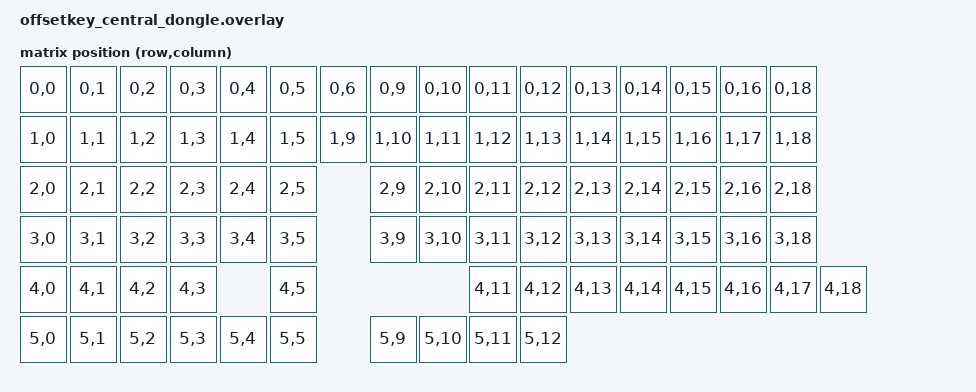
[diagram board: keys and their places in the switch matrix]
/*
 * Copyright (c) 2020 ZMK Contributors
 *
 * SPDX-License-Identifier: MIT
 */
#include <dt-bindings/zmk/matrix_transform.h>
#include <dt-bindings/zmk/input_transform.h>
#include <input/processors.dtsi>
#include "offsetkey_physical_layout.dtsi"
#include "split_input_common.dtsi"

#define SYMBOLS 2

/ {
    chosen {
        zmk,kscan = &mock_kscan;
        zmk,matrix-transform = &default_transform;
        zmk,physical-layout = &offsetkey_physical_layout;
        zephyr,display = &oled;
    };

    default_transform: keymap_transform_0 {
        compatible = "zmk,matrix-transform";
        columns = <19>;
        rows = <6>;

        map = <
            RC(0,0) RC(0,1) RC(0,2) RC(0,3) RC(0,4) RC(0,5) RC(0,6)            RC(0,9) RC(0,10) RC(0,11) RC(0,12) RC(0,13) RC(0,14) RC(0,15) RC(0,16) RC(0,18)
            RC(1,0) RC(1,1) RC(1,2) RC(1,3) RC(1,4) RC(1,5)                    RC(1,9) RC(1,10) RC(1,11) RC(1,12) RC(1,13) RC(1,14) RC(1,15) RC(1,16) RC(1,17) RC(1,18)
            RC(2,0) RC(2,1) RC(2,2) RC(2,3) RC(2,4) RC(2,5)                    RC(2,9) RC(2,10) RC(2,11) RC(2,12) RC(2,13) RC(2,14) RC(2,15) RC(2,16) RC(2,18)
            RC(3,0) RC(3,1) RC(3,2) RC(3,3) RC(3,4) RC(3,5)                    RC(3,9) RC(3,10) RC(3,11) RC(3,12) RC(3,13) RC(3,14) RC(3,15) RC(3,16) RC(3,18)
            RC(4,0) RC(4,1) RC(4,2) RC(4,3)         RC(4,5)                                     RC(4,11) RC(4,12) RC(4,13) RC(4,14) RC(4,15) RC(4,16) RC(4,17) RC(4,18)
            RC(5,0) RC(5,1) RC(5,2) RC(5,3) RC(5,4) RC(5,5)                    RC(5,9) RC(5,10) RC(5,11) RC(5,12)
        >;
    };

    mock_kscan: mock_kscan {
        compatible = "zmk,kscan-mock";
        columns = <19>;
        rows = <6>;
        events = <0>;
    };
};

/* nice!nano I2C pins for OLED */
&pinctrl {
    i2c0_default: i2c0_default {
        group1 {
            psels = <NRF_PSEL(TWIM_SDA, 0, 17)>,
                    <NRF_PSEL(TWIM_SCL, 0, 20)>;
        };
    };

    i2c0_sleep: i2c0_sleep {
        group1 {
            psels = <NRF_PSEL(TWIM_SDA, 0, 17)>,
                    <NRF_PSEL(TWIM_SCL, 0, 20)>;
            low-power-enable;
        };
    };
};

&i2c0 {
    status = "okay";
    compatible = "nordic,nrf-twi";
    pinctrl-0 = <&i2c0_default>;
    pinctrl-1 = <&i2c0_sleep>;
    pinctrl-names = "default", "sleep";

    oled: ssd1306@3c {
        compatible = "solomon,ssd1306fb";
        reg = <0x3c>;
        width = <128>;
        height = <64>;
        segment-offset = <0>;
        page-offset = <0>;
        display-offset = <0>;
        multiplex-ratio = <63>;
        segment-remap;
        com-invdir;
        inversion-on;
        prechargep = <0x22>;
    };
};

/* Enable trackball listener for input from peripheral */
&trackball_listener {
    status = "okay";
};
